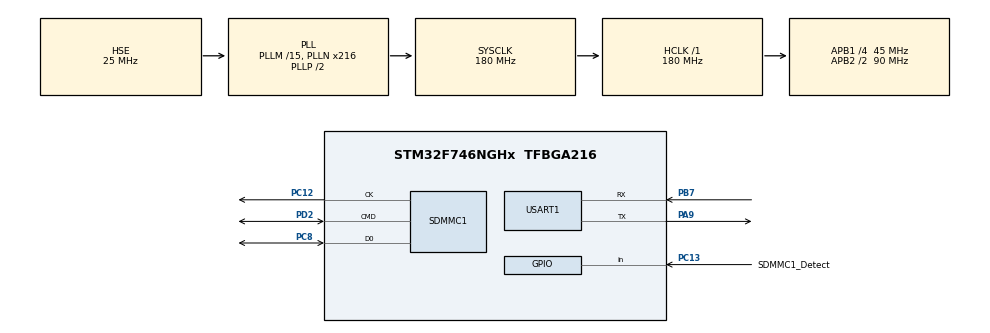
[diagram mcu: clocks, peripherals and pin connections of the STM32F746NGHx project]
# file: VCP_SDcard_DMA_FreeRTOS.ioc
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Dma.Request0=SDMMC1_RX
Dma.Request1=SDMMC1_TX
Dma.SDMMC1_RX.0.Direction=DMA_PERIPH_TO_MEMORY
Dma.SDMMC1_RX.0.FIFOMode=DMA_FIFOMODE_ENABLE
Dma.SDMMC1_RX.0.FIFOThreshold=DMA_FIFO_THRESHOLD_FULL
Dma.SDMMC1_RX.0.Instance=DMA2_Stream3
Dma.SDMMC1_RX.0.MemBurst=DMA_MBURST_INC4
Dma.SDMMC1_RX.0.MemDataAlignment=DMA_MDATAALIGN_WORD
Dma.SDMMC1_RX.0.MemInc=DMA_MINC_ENABLE
Dma.SDMMC1_RX.0.Mode=DMA_PFCTRL
Dma.SDMMC1_RX.0.PeriphBurst=DMA_PBURST_INC4
Dma.SDMMC1_RX.0.PeriphDataAlignment=DMA_PDATAALIGN_WORD
Dma.SDMMC1_RX.0.PeriphInc=DMA_PINC_DISABLE
Dma.SDMMC1_RX.0.Priority=DMA_PRIORITY_LOW
Dma.SDMMC1_TX.1.Direction=DMA_MEMORY_TO_PERIPH
Dma.SDMMC1_TX.1.FIFOMode=DMA_FIFOMODE_ENABLE
Dma.SDMMC1_TX.1.FIFOThreshold=DMA_FIFO_THRESHOLD_FULL
Dma.SDMMC1_TX.1.Instance=DMA2_Stream6
Dma.SDMMC1_TX.1.MemBurst=DMA_MBURST_INC4
Dma.SDMMC1_TX.1.MemDataAlignment=DMA_MDATAALIGN_WORD
Dma.SDMMC1_TX.1.MemInc=DMA_MINC_ENABLE
Dma.SDMMC1_TX.1.Mode=DMA_PFCTRL
Dma.SDMMC1_TX.1.PeriphBurst=DMA_PBURST_INC4
Dma.SDMMC1_TX.1.PeriphDataAlignment=DMA_PDATAALIGN_WORD
Dma.SDMMC1_TX.1.PeriphInc=DMA_PINC_DISABLE
Dma.SDMMC1_TX.1.Priority=DMA_PRIORITY_LOW
FATFS.BSP.number=1
FATFS.USE_DMA_CODE_SD=1
FATFS._MAX_SS=4096
FATFS0.BSP.STBoard=false
FATFS0.BSP.api=Unknown
FATFS0.BSP.instance=PC13
FATFS0.BSP.ip=GPIO
FATFS0.BSP.mode=Input
FATFS0.BSP.name=Detect_SDIO
FATFS0.BSP.solution=PC13
FREERTOS.Tasks01=defaultTask,0,1024,StartDefaultTask,Default,NULL,Dynamic,NULL,NULL
FREERTOS.configUSE_NEWLIB_REENTRANT=1
Mcu.Family=STM32F7
Mcu.Name=STM32F746NGHx
Mcu.Package=TFBGA216
NVIC.DMA2_Stream3_IRQn=true\:5\:0\:false\:false\:true\:true\:false\:true\:true
NVIC.DMA2_Stream6_IRQn=true\:5\:0\:false\:false\:true\:true\:false\:true\:true
NVIC.PriorityGroup=NVIC_PRIORITYGROUP_4
NVIC.SDMMC1_IRQn=true\:5\:0\:false\:false\:true\:true\:true\:true\:true
NVIC.TIM6_DAC_IRQn=true\:15\:0\:false\:false\:true\:false\:false\:true\:true
NVIC.TimeBase=TIM6_DAC_IRQn
NVIC.TimeBaseIP=TIM6
PA9.Mode=Asynchronous
PA9.Signal=USART1_TX
PB7.Mode=Asynchronous
PB7.Signal=USART1_RX
PC12.Mode=SD_1_bit
PC12.Signal=SDMMC1_CK
PC13.GPIO_Label=SDMMC1_Detect
PC13.Signal=GPIO_Input
PC8.Mode=SD_1_bit
PC8.Signal=SDMMC1_D0
PD2.Mode=SD_1_bit
PD2.Signal=SDMMC1_CMD
PH0/OSC_IN.Mode=HSE-External-Oscillator
PH0/OSC_IN.Signal=RCC_OSC_IN
PH1/OSC_OUT.Mode=HSE-External-Oscillator
PH1/OSC_OUT.Signal=RCC_OSC_OUT
ProjectManager.HeapSize=0x2000
ProjectManager.StackSize=0x4000
ProjectManager.TargetToolchain=STM32CubeIDE
RCC.AHBFreq_Value=180000000
RCC.APB1CLKDivider=RCC_HCLK_DIV4
RCC.APB1Freq_Value=45000000
RCC.APB1TimFreq_Value=90000000
RCC.APB2CLKDivider=RCC_HCLK_DIV2
RCC.APB2Freq_Value=90000000
RCC.APB2TimFreq_Value=180000000
RCC.CortexFreq_Value=180000000
RCC.HCLKFreq_Value=180000000
RCC.HSE_VALUE=25000000
RCC.HSI_VALUE=16000000
RCC.LSE_VALUE=32768
RCC.PLLM=15
RCC.PLLN=216
RCC.PLLQ=15
RCC.PLLSourceVirtual=RCC_PLLSOURCE_HSE
RCC.SDMMCClockSelection=RCC_SDMMC1CLKSOURCE_CLK48
RCC.SYSCLKFreq_VALUE=180000000
RCC.SYSCLKSource=RCC_SYSCLKSOURCE_PLLCLK
RCC.USBFreq_Value=24000000
RCC.VCOOutputFreq_Value=360000000
USART1.VirtualMode-Asynchronous=VM_ASYNC
VP_FATFS_VS_SDIO.Mode=SDIO
VP_FREERTOS_VS_CMSIS_V1.Mode=CMSIS_V1
VP_SYS_VS_tim6.Mode=TIM6
board=custom

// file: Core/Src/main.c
/* USER CODE BEGIN Header */
/**
  ******************************************************************************
  * @file           : main.c
  * @brief          : Main program body
  ******************************************************************************
  * @attention
  *
  * Copyright (c) 2025 STMicroelectronics.
  * All rights reserved.
  *
  * This software is licensed under terms that can be found in the LICENSE file
  * in the root directory of this software component.
  * If no LICENSE file comes with this software, it is provided AS-IS.
  *
  ******************************************************************************
  */
/* USER CODE END Header */
#include "main.h"
#include "cmsis_os.h"
#include "fatfs.h"

/* USER CODE BEGIN Includes */
#include "stdio.h"
#include "string.h"
#include "SDCard_Configuration.h"
/* USER CODE END Includes */

/* USER CODE BEGIN PTD */
#ifdef __GNUC__
  /* With GCC, small printf (option LD Linker->Libraries->Small printf
     set to 'Yes') calls __io_putchar() */
  #define PUTCHAR_PROTOTYPE int __io_putchar(int ch)
#else
  #define PUTCHAR_PROTOTYPE int fputc(int ch, FILE *f)
#endif /* __GNUC__ */

char sd_buffer[100];

/* USER CODE END PTD */

SD_HandleTypeDef hsd1;
DMA_HandleTypeDef hdma_sdmmc1_rx;
DMA_HandleTypeDef hdma_sdmmc1_tx;

UART_HandleTypeDef huart1;

osThreadId defaultTaskHandle;

void SystemClock_Config(void);
static void MX_GPIO_Init(void);
static void MX_DMA_Init(void);
static void MX_SDMMC1_SD_Init(void);
static void MX_USART1_UART_Init(void);
void StartDefaultTask(void const * argument);

int main(void)
{

  /* MCU Configuration--------------------------------------------------------*/

  /* Reset of all peripherals, Initializes the Flash interface and the Systick. */
  HAL_Init();

  /* Configure the system clock */
  SystemClock_Config();

  /* Initialize all configured peripherals */
  MX_GPIO_Init();
  MX_DMA_Init();
  MX_SDMMC1_SD_Init();
  MX_FATFS_Init();
  MX_USART1_UART_Init();

  /* Create the thread(s) */
  /* definition and creation of defaultTask */
  osThreadDef(defaultTask, StartDefaultTask, osPriorityNormal, 0, 1024);
  defaultTaskHandle = osThreadCreate(osThread(defaultTask), NULL);

  /* Start scheduler */
  osKernelStart();

  /* We should never get here as control is now taken by the scheduler */

  /* Infinite loop */
  while (1)
  {

  }
}

void SystemClock_Config(void)
{
  RCC_OscInitTypeDef RCC_OscInitStruct = {0};
  RCC_ClkInitTypeDef RCC_ClkInitStruct = {0};

  /** Configure the main internal regulator output voltage
  */
  __HAL_RCC_PWR_CLK_ENABLE();
  __HAL_PWR_VOLTAGESCALING_CONFIG(PWR_REGULATOR_VOLTAGE_SCALE1);

  /** Initializes the RCC Oscillators according to the specified parameters
  * in the RCC_OscInitTypeDef structure.
  */
  RCC_OscInitStruct.OscillatorType = RCC_OSCILLATORTYPE_HSE;
  RCC_OscInitStruct.HSEState = RCC_HSE_ON;
  RCC_OscInitStruct.PLL.PLLState = RCC_PLL_ON;
  RCC_OscInitStruct.PLL.PLLSource = RCC_PLLSOURCE_HSE;
  RCC_OscInitStruct.PLL.PLLM = 15;
  RCC_OscInitStruct.PLL.PLLN = 216;
  RCC_OscInitStruct.PLL.PLLP = RCC_PLLP_DIV2;
  RCC_OscInitStruct.PLL.PLLQ = 15;
  if (HAL_RCC_OscConfig(&RCC_OscInitStruct) != HAL_OK)
  {
    Error_Handler();
  }

  /** Initializes the CPU, AHB and APB buses clocks
  */
  RCC_ClkInitStruct.ClockType = RCC_CLOCKTYPE_HCLK|RCC_CLOCKTYPE_SYSCLK
                              |RCC_CLOCKTYPE_PCLK1|RCC_CLOCKTYPE_PCLK2;
  RCC_ClkInitStruct.SYSCLKSource = RCC_SYSCLKSOURCE_PLLCLK;
  RCC_ClkInitStruct.AHBCLKDivider = RCC_SYSCLK_DIV1;
  RCC_ClkInitStruct.APB1CLKDivider = RCC_HCLK_DIV4;
  RCC_ClkInitStruct.APB2CLKDivider = RCC_HCLK_DIV2;

  if (HAL_RCC_ClockConfig(&RCC_ClkInitStruct, FLASH_LATENCY_5) != HAL_OK)
  {
    Error_Handler();
  }
}

static void MX_SDMMC1_SD_Init(void)
{

  hsd1.Instance = SDMMC1;
  hsd1.Init.ClockEdge = SDMMC_CLOCK_EDGE_RISING;
  hsd1.Init.ClockBypass = SDMMC_CLOCK_BYPASS_DISABLE;
  hsd1.Init.ClockPowerSave = SDMMC_CLOCK_POWER_SAVE_DISABLE;
  hsd1.Init.BusWide = SDMMC_BUS_WIDE_1B;
  hsd1.Init.HardwareFlowControl = SDMMC_HARDWARE_FLOW_CONTROL_DISABLE;
  hsd1.Init.ClockDiv = 0;

}

static void MX_USART1_UART_Init(void)
{

  huart1.Instance = USART1;
  huart1.Init.BaudRate = 115200;
  huart1.Init.WordLength = UART_WORDLENGTH_8B;
  huart1.Init.StopBits = UART_STOPBITS_1;
  huart1.Init.Parity = UART_PARITY_NONE;
  huart1.Init.Mode = UART_MODE_TX_RX;
  huart1.Init.HwFlowCtl = UART_HWCONTROL_NONE;
  huart1.Init.OverSampling = UART_OVERSAMPLING_16;
  huart1.Init.OneBitSampling = UART_ONE_BIT_SAMPLE_DISABLE;
  huart1.AdvancedInit.AdvFeatureInit = UART_ADVFEATURE_NO_INIT;
  if (HAL_UART_Init(&huart1) != HAL_OK)
  {
    Error_Handler();
  }

}

static void MX_DMA_Init(void)
{

  /* DMA controller clock enable */
  __HAL_RCC_DMA2_CLK_ENABLE();

  /* DMA interrupt init */
  /* DMA2_Stream3_IRQn interrupt configuration */
  HAL_NVIC_SetPriority(DMA2_Stream3_IRQn, 5, 0);
  HAL_NVIC_EnableIRQ(DMA2_Stream3_IRQn);
  /* DMA2_Stream6_IRQn interrupt configuration */
  HAL_NVIC_SetPriority(DMA2_Stream6_IRQn, 5, 0);
  HAL_NVIC_EnableIRQ(DMA2_Stream6_IRQn);

}

static void MX_GPIO_Init(void)
{
  GPIO_InitTypeDef GPIO_InitStruct = {0};

  /* GPIO Ports Clock Enable */
  __HAL_RCC_GPIOC_CLK_ENABLE();
  __HAL_RCC_GPIOB_CLK_ENABLE();
  __HAL_RCC_GPIOD_CLK_ENABLE();
  __HAL_RCC_GPIOA_CLK_ENABLE();
  __HAL_RCC_GPIOH_CLK_ENABLE();

  /*Configure GPIO pin : SDMMC1_Detect_Pin */
  GPIO_InitStruct.Pin = SDMMC1_Detect_Pin;
  GPIO_InitStruct.Mode = GPIO_MODE_INPUT;
  GPIO_InitStruct.Pull = GPIO_NOPULL;
  HAL_GPIO_Init(SDMMC1_Detect_GPIO_Port, &GPIO_InitStruct);

}

/* USER CODE BEGIN 4 */
PUTCHAR_PROTOTYPE
{
  /* Place your implementation of fputc here */
  /* e.g. write a character to the EVAL_COM1 and Loop until the end of transmission */
  HAL_UART_Transmit(&huart1, (uint8_t *)&ch, 1, 0xFFFF);

  return ch;
}
/* USER CODE END 4 */

void StartDefaultTask(void const * argument)
{
  /* USER CODE BEGIN 5 */
  Mount_SD(SDPath);
  Format_SD();
  Check_SD_Space();
  Create_File("MRL.txt");
  sprintf(sd_buffer, "Hello MRL-HSL \n");
  Update_File("MRL.txt", sd_buffer);
  Unmount_SD(SDPath);

  /* Infinite loop */
  for(;;)
  {
    osDelay(1);
  }
  /* USER CODE END 5 */
}

void HAL_TIM_PeriodElapsedCallback(TIM_HandleTypeDef *htim)
{
  if (htim->Instance == TIM6) {
    HAL_IncTick();
  }
}

void Error_Handler(void)
{
  __disable_irq();
  while (1)
  {
  }
}
